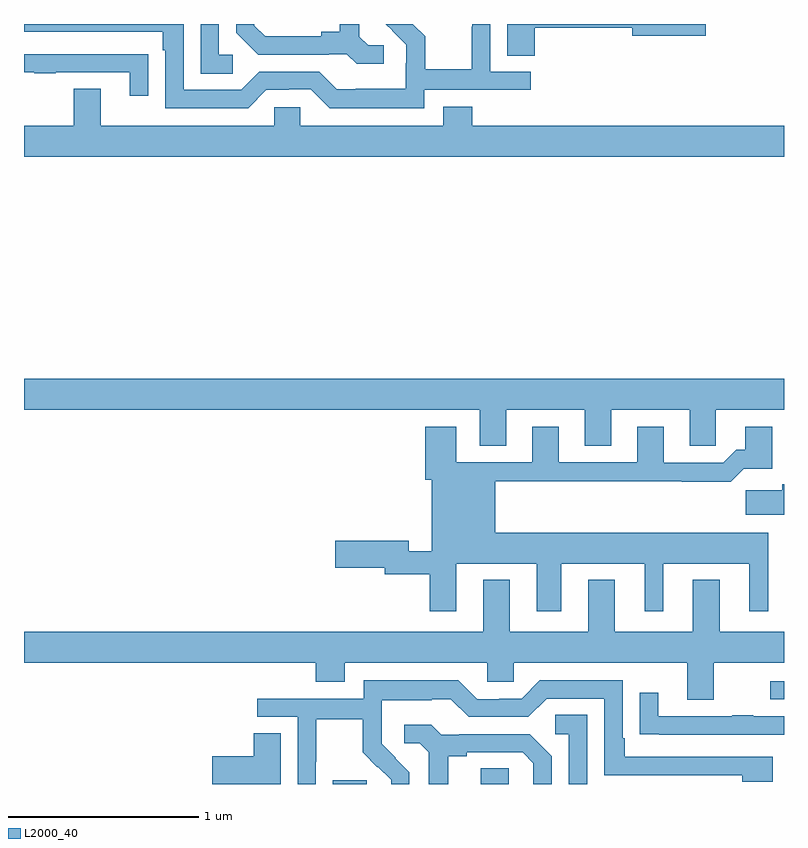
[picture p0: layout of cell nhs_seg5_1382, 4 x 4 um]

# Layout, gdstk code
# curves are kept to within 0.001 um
import gdstk
lib = gdstk.Library(unit=1e-6, precision=1e-09)
def R(c, l, rs):  # rectangles x0, y0, x1, y1
    for r in rs: c.add(gdstk.rectangle(r[:2], r[2:], *l))
def P(c, l, *ps):  # polygons
    for p in ps: c.add(gdstk.Polygon(p, *l))
L2000_40 = (2000, 40)

nhs_seg5_1382 = lib.new_cell('nhs_seg5_1382')
R(nhs_seg5_1382, L2000_40, [(196.625,846.799,196.804,846.819), (197.405,846.799,197.55,846.881), (198.927,847.245,199,847.341)])
P(nhs_seg5_1382, L2000_40, [(196.099,850.638),(196.026,850.638),(196.026,850.799),(195.93,850.799),(195.93,850.537),(196.099,850.537)],
  [(197.106,850.452),(197.668,850.452),(197.668,850.548),(197.454,850.548),(197.454,850.799),(197.358,850.799),(197.358,850.784),(197.356,850.784),(197.356,850.561),(197.111,850.561),(197.111,850.735),(197.047,850.799),(196.905,850.799),(197.012,850.69),(197.012,850.593),(197.01,850.593),(197.01,850.459),(196.747,850.459),(196.747,850.455),(196.647,850.455),(196.554,850.548),(196.239,850.548),(196.143,850.452),(195.84,850.452),(195.84,850.799),(195,850.799),(195,850.758),(195.731,850.758),(195.731,850.661),(195.744,850.661),(195.744,850.356),(196.179,850.356),(196.275,850.452),(196.394,850.452),(196.394,850.455),(196.509,850.455),(196.609,850.355),(197.106,850.355)],
  [(196.894,850.686),(196.812,850.686),(196.765,850.733),(196.765,850.799),(196.661,850.799),(196.661,850.757),(196.565,850.757),(196.565,850.734),(196.27,850.734),(196.213,850.791),(196.213,850.799),(196.116,850.799),(196.116,850.754),(196.232,850.638),(196.604,850.638),(196.604,850.641),(196.698,850.641),(196.75,850.589),(196.894,850.589)],
  [(197.687,850.78),(198.2,850.78),(198.2,850.738),(198.589,850.738),(198.589,850.799),(197.543,850.799),(197.543,850.633),(197.687,850.633)],
  [(195.653,850.64),(195.551,850.64),(195.551,850.641),(195,850.641),(195,850.545),(195.055,850.545),(195.055,850.54),(195.167,850.54),(195.167,850.545),(195.557,850.545),(195.557,850.422),(195.653,850.422)],
  [(199,850.264),(197.36,850.264),(197.36,850.363),(197.207,850.363),(197.207,850.264),(196.455,850.264),(196.455,850.362),(196.317,850.362),(196.317,850.264),(195.403,850.264),(195.403,850.459),(195.263,850.459),(195.263,850.264),(195,850.264),(195,850.1),(199,850.1)],
  [(197.539,848.768),(197.951,848.768),(197.951,848.578),(198.091,848.578),(198.091,848.768),(198.503,848.768),(198.503,848.578),(198.642,848.578),(198.642,848.768),(199,848.768),(199,848.932),(195,848.932),(195,848.768),(197.399,848.768),(197.399,848.578),(197.539,848.578)],
  [(197.275,847.958),(197.699,847.958),(197.699,847.707),(197.827,847.707),(197.827,847.958),(198.266,847.958),(198.266,847.707),(198.364,847.707),(198.364,847.958),(198.818,847.958),(198.818,847.707),(198.916,847.707),(198.916,848.122),(197.479,848.122),(197.479,848.392),(198.463,848.392),(198.463,848.39),(198.719,848.39),(198.788,848.459),(198.937,848.459),(198.937,848.68),(198.797,848.68),(198.797,848.557),(198.748,848.557),(198.681,848.49),(198.367,848.49),(198.367,848.68),(198.227,848.68),(198.227,848.493),(197.815,848.493),(197.815,848.68),(197.675,848.68),(197.675,848.493),(197.275,848.493),(197.275,848.68),(197.111,848.68),(197.111,848.4),(197.147,848.4),(197.147,848.023),(197.026,848.023),(197.026,848.078),(196.638,848.078),(196.638,847.936),(196.898,847.936),(196.898,847.902),(197.135,847.902),(197.135,847.707),(197.275,847.707)],
  [(199,848.377),(198.992,848.377),(198.992,848.345),(198.798,848.345),(198.798,848.216),(199,848.216)],
  [(198.631,847.436),(199,847.436),(199,847.6),(198.661,847.6),(198.661,847.873),(198.521,847.873),(198.521,847.6),(198.109,847.6),(198.109,847.873),(197.969,847.873),(197.969,847.6),(197.557,847.6),(197.557,847.873),(197.417,847.873),(197.417,847.6),(195,847.6),(195,847.436),(196.535,847.436),(196.535,847.337),(196.687,847.337),(196.687,847.436),(197.439,847.436),(197.439,847.338),(197.577,847.338),(197.577,847.436),(198.491,847.436),(198.491,847.242),(198.631,847.242)],
  [(196.536,846.916),(196.539,846.916),(196.539,847.14),(196.783,847.14),(196.783,846.965),(196.86,846.888),(196.863,846.891),(196.934,846.821),(196.934,846.799),(197.028,846.799),(197.028,846.862),(196.882,847.01),(196.882,847.107),(196.884,847.107),(196.884,847.241),(197.147,847.241),(197.147,847.245),(197.247,847.245),(197.34,847.152),(197.655,847.152),(197.751,847.248),(198.054,847.248),(198.054,846.846),(198.779,846.846),(198.779,846.812),(198.94,846.812),(198.94,846.942),(198.163,846.942),(198.163,847.039),(198.15,847.039),(198.15,847.344),(197.715,847.344),(197.619,847.248),(197.501,847.248),(197.501,847.245),(197.385,847.245),(197.285,847.345),(196.788,847.345),(196.788,847.248),(196.227,847.248),(196.227,847.152),(196.44,847.152),(196.44,846.799),(196.536,846.799)],
  [(199,847.155),(198.839,847.155),(198.839,847.16),(198.727,847.16),(198.727,847.155),(198.337,847.155),(198.337,847.279),(198.241,847.279),(198.241,847.06),(198.343,847.06),(198.343,847.059),(199,847.059)],
  [(197.964,847.163),(197.796,847.163),(197.796,847.062),(197.868,847.062),(197.868,846.799),(197.964,846.799)],
  [(197.233,846.944),(197.329,846.944),(197.329,846.966),(197.624,846.966),(197.681,846.909),(197.681,846.799),(197.778,846.799),(197.778,846.946),(197.662,847.062),(197.29,847.062),(197.29,847.059),(197.196,847.059),(197.144,847.111),(197.001,847.111),(197.001,847.014),(197.082,847.014),(197.129,846.967),(197.129,846.799),(197.233,846.799)],
  [(196.351,847.067),(196.208,847.067),(196.208,846.944),(195.99,846.944),(195.99,846.799),(196.351,846.799)])

lib.write_gds('nhs_seg5_1382.gds')
